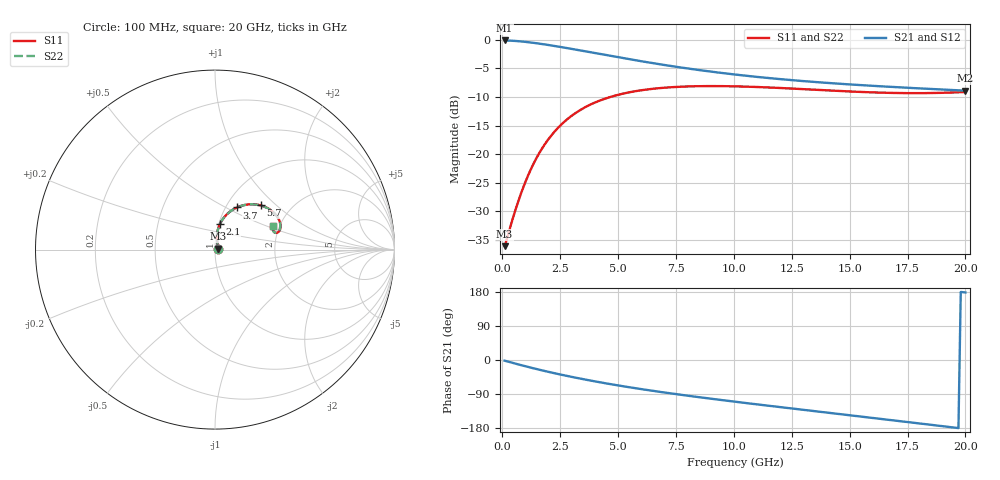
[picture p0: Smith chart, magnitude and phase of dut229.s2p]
! Touchstone file exported from HFSS 2024.1.0
!  File:  C:/UserFiles/LocalFiles/RDL_TSV_Batchsim/temp_RDL_TSV_229_1779451113.aedt
!  Generated:  08:12:57 PM May 22, 2026
!  Design:  RDL_TSV
!  Project:  temp_RDL_TSV_229_1779451113
!  Setup:  Setup1
!  Solution:  Sweep
! Variables:
!  dtsv = 11.86um
!  hbump = 3um
!  htsv = 57.87um
!  ldown = 659.15um
!  lrdl = 177.29um
!  p = 40
!  p1 = 57.56um
!  rhole = 10um
!  subl = 2686.61um
!  t = 450um
!  tdown = 4.99um
!  trdl = 4.17um
!  viad = 10um
!  wdown = 15.03um
!  wrdl = 11.57um
!  xbump = 18um
# GHz S MA R 50.000000
! Terminal data exported
! Port[1] = TM1_1_T1
! Port[2] = TM1_4_T1
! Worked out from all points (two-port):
!   200 points, 100 MHz to 20 GHz, reference 50 ohm
!   highest |S21| = -0.13 dB at 100 MHz (marker M1); lowest = -8.9 dB at 20 GHz (marker M2)
!   |S21| within 3 dB of the highest: start of sweep to 5.103 GHz
!   lowest |S11| = -36.1 dB at 100 MHz (marker M3), VSWR 1.03, Z = 51.5 + j0.548 ohm
!   |S11| at or under -10 dB: start of sweep to 4.669 GHz
!   |S22| runs from -36.1 to -8.1 dB; largest |S21 - S12| = 8.1e-15
!   S11 on the Smith chart (normalised r, x): 100 MHz: 1.03, +0.01; 2.1 GHz: 1.01, +0.29; 3.7 GHz: 1.13, +0.57; 5.7 GHz: 1.42, +0.80; 20 GHz: 1.86, +0.55
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0.1  0.01573 19.8  0.9848 -1.7  0.9848 -1.7  0.01573 19.8
! Gamma 0 0 0 0
! Port Impedance 50 0 50 0
0.6  0.03422 66.9  0.9737 -10.1  0.9737 -10.1  0.03422 66.8
0.8  0.04493 74.4  0.9662 -13.4  0.9662 -13.4  0.04493 74.3
1.1  0.06419 80.3  0.9523 -18.1  0.9523 -18.1  0.06417 80.3
1.3  0.07878 81.9  0.9416 -21.2  0.9416 -21.2  0.07876 81.9
1.6  0.1025 82.1  0.9239 -25.7  0.9239 -25.7  0.1025 82.1
2.1  0.1443 79.2  0.8919 -32.8  0.8919 -32.8  0.1443 79.2
2.7  0.1937 73.3  0.8514 -40.8  0.8514 -40.8  0.1936 73.3
3.1  0.2242 69.0  0.8243 -45.8  0.8243 -45.8  0.2241 68.9
3.5  0.252 64.6  0.7974 -50.7  0.7974 -50.7  0.2518 64.6
3.7  0.2648 62.5  0.7841 -53.0  0.7841 -53.0  0.2646 62.5
4.6  0.3132 53.5  0.727 -62.9  0.727 -62.9  0.3129 53.5
5.7  0.3536 44.2  0.6642 -74.0  0.6642 -74.0  0.3533 44.1
6.8  0.3778 36.5  0.6102 -84.0  0.6102 -84.0  0.3774 36.5
8.3  0.3921 28.4  0.55 -96.6  0.55 -96.6  0.3916 28.4
10.1  0.3912 21.5  0.4951 -110.4  0.4951 -110.4  0.3906 21.5
11.7  0.3811 17.6  0.4584 -122.2  0.4584 -122.2  0.3804 17.6
13.4  0.3665 15.5  0.4287 -134.3  0.4287 -134.3  0.3657 15.5
15  0.353 15.3  0.4069 -145.7  0.4069 -145.7  0.3522 15.3
16.7  0.3433 16.7  0.3881 -157.9  0.3881 -157.9  0.3425 16.8
18.3  0.3416 19.0  0.3731 -169.5  0.3731 -169.5  0.3408 19.1
20  0.3493 21.7  0.3588 178.1  0.3588 178.1  0.3486 21.8
